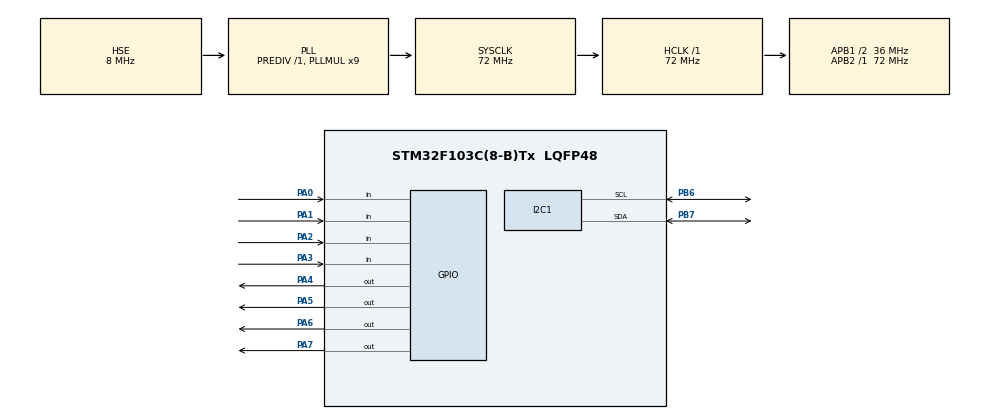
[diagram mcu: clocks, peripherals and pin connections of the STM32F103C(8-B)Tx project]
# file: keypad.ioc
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Mcu.Family=STM32F1
Mcu.Name=STM32F103C(8-B)Tx
Mcu.Package=LQFP48
NVIC.PriorityGroup=NVIC_PRIORITYGROUP_4
PA0-WKUP.GPIO_PuPd=GPIO_PULLUP
PA0-WKUP.Signal=GPIO_Input
PA1.GPIO_PuPd=GPIO_PULLUP
PA1.Signal=GPIO_Input
PA13.Mode=Serial_Wire
PA13.Signal=SYS_JTMS-SWDIO
PA14.Mode=Serial_Wire
PA14.Signal=SYS_JTCK-SWCLK
PA2.GPIO_PuPd=GPIO_PULLUP
PA2.Signal=GPIO_Input
PA3.GPIO_PuPd=GPIO_PULLUP
PA3.Signal=GPIO_Input
PA4.Signal=GPIO_Output
PA5.Signal=GPIO_Output
PA6.Signal=GPIO_Output
PA7.Signal=GPIO_Output
PB6.Mode=I2C
PB6.Signal=I2C1_SCL
PB7.Mode=I2C
PB7.Signal=I2C1_SDA
PD0-OSC_IN.Mode=HSE-External-Oscillator
PD0-OSC_IN.Signal=RCC_OSC_IN
PD1-OSC_OUT.Mode=HSE-External-Oscillator
PD1-OSC_OUT.Signal=RCC_OSC_OUT
ProjectManager.HeapSize=0x200
ProjectManager.StackSize=0x400
ProjectManager.TargetToolchain=MDK-ARM V5
RCC.AHBFreq_Value=72000000
RCC.APB1CLKDivider=RCC_HCLK_DIV2
RCC.APB1Freq_Value=36000000
RCC.APB1TimFreq_Value=72000000
RCC.APB2Freq_Value=72000000
RCC.APB2TimFreq_Value=72000000
RCC.HCLKFreq_Value=72000000
RCC.PLLMUL=RCC_PLL_MUL9
RCC.PLLSourceVirtual=RCC_PLLSOURCE_HSE
RCC.SYSCLKFreq_VALUE=72000000
RCC.SYSCLKSource=RCC_SYSCLKSOURCE_PLLCLK
RCC.USBFreq_Value=72000000
board=custom

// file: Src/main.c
/* USER CODE BEGIN Header */
/**
  ******************************************************************************
  * @file           : main.c
  * @brief          : Main program body
  ******************************************************************************
  ** This notice applies to any and all portions of this file
  * that are not between comment pairs USER CODE BEGIN and
  * USER CODE END. Other portions of this file, whether
  * inserted by the user or by software development tools
  * are owned by their respective copyright owners.
  *
  * COPYRIGHT(c) 2019 STMicroelectronics
  *
  * Redistribution and use in source and binary forms, with or without modification,
  * are permitted provided that the following conditions are met:
  *   1. Redistributions of source code must retain the above copyright notice,
  *      this list of conditions and the following disclaimer.
  *   2. Redistributions in binary form must reproduce the above copyright notice,
  *      this list of conditions and the following disclaimer in the documentation
  *      and/or other materials provided with the distribution.
  *   3. Neither the name of STMicroelectronics nor the names of its contributors
  *      may be used to endorse or promote products derived from this software
  *      without specific prior written permission.
  *
  * THIS SOFTWARE IS PROVIDED BY THE COPYRIGHT HOLDERS AND CONTRIBUTORS "AS IS"
  * AND ANY EXPRESS OR IMPLIED WARRANTIES, INCLUDING, BUT NOT LIMITED TO, THE
  * IMPLIED WARRANTIES OF MERCHANTABILITY AND FITNESS FOR A PARTICULAR PURPOSE ARE
  * DISCLAIMED. IN NO EVENT SHALL THE COPYRIGHT HOLDER OR CONTRIBUTORS BE LIABLE
  * FOR ANY DIRECT, INDIRECT, INCIDENTAL, SPECIAL, EXEMPLARY, OR CONSEQUENTIAL
  * DAMAGES (INCLUDING, BUT NOT LIMITED TO, PROCUREMENT OF SUBSTITUTE GOODS OR
  * SERVICES; LOSS OF USE, DATA, OR PROFITS; OR BUSINESS INTERRUPTION) HOWEVER
  * CAUSED AND ON ANY THEORY OF LIABILITY, WHETHER IN CONTRACT, STRICT LIABILITY,
  * OR TORT (INCLUDING NEGLIGENCE OR OTHERWISE) ARISING IN ANY WAY OUT OF THE USE
  * OF THIS SOFTWARE, EVEN IF ADVISED OF THE POSSIBILITY OF SUCH DAMAGE.
  *
  ******************************************************************************
  */
/* USER CODE END Header */

#include "main.h"

/* USER CODE BEGIN Includes */
#include "i2c-lcd.h"
/* USER CODE END Includes */

/* USER CODE BEGIN PD */
#define R1_PORT GPIOA
#define R1_PIN GPIO_PIN_7

#define R2_PORT GPIOA
#define R2_PIN GPIO_PIN_6

#define R3_PORT GPIOA
#define R3_PIN GPIO_PIN_5

#define R4_PORT GPIOA
#define R4_PIN GPIO_PIN_4

#define C1_PORT GPIOA
#define C1_PIN GPIO_PIN_3

#define C2_PORT GPIOA
#define C2_PIN GPIO_PIN_2

#define C3_PORT GPIOA
#define C3_PIN GPIO_PIN_1

#define C4_PORT GPIOA
#define C4_PIN GPIO_PIN_0

/* USER CODE END PD */

I2C_HandleTypeDef hi2c1;

void SystemClock_Config(void);
static void MX_GPIO_Init(void);
static void MX_I2C1_Init(void);

/* USER CODE BEGIN 0 */
uint8_t key;

char read_keypad (void)
{
	/* Make ROW 1 LOW and all other ROWs HIGH */
	HAL_GPIO_WritePin (R1_PORT, R1_PIN, GPIO_PIN_RESET);  //Pull the R1 low
	HAL_GPIO_WritePin (R2_PORT, R2_PIN, GPIO_PIN_SET);  // Pull the R2 High
	HAL_GPIO_WritePin (R3_PORT, R3_PIN, GPIO_PIN_SET);  // Pull the R3 High
	HAL_GPIO_WritePin (R4_PORT, R4_PIN, GPIO_PIN_SET);  // Pull the R4 High

	if (!(HAL_GPIO_ReadPin (C1_PORT, C1_PIN)))   // if the Col 1 is low
	{
		while (!(HAL_GPIO_ReadPin (C1_PORT, C1_PIN)));   // wait till the button is pressed
		return '1';
	}

	if (!(HAL_GPIO_ReadPin (C2_PORT, C2_PIN)))   // if the Col 2 is low
	{
		while (!(HAL_GPIO_ReadPin (C2_PORT, C2_PIN)));   // wait till the button is pressed
		return '2';
	}

	if (!(HAL_GPIO_ReadPin (C3_PORT, C3_PIN)))   // if the Col 3 is low
	{
		while (!(HAL_GPIO_ReadPin (C3_PORT, C3_PIN)));   // wait till the button is pressed
		return '3';
	}

	if (!(HAL_GPIO_ReadPin (C4_PORT, C4_PIN)))   // if the Col 4 is low
	{
		while (!(HAL_GPIO_ReadPin (C4_PORT, C4_PIN)));   // wait till the button is pressed
		return 'A';
	}

	/* Make ROW 2 LOW and all other ROWs HIGH */
	HAL_GPIO_WritePin (R1_PORT, R1_PIN, GPIO_PIN_SET);  //Pull the R1 low
	HAL_GPIO_WritePin (R2_PORT, R2_PIN, GPIO_PIN_RESET);  // Pull the R2 High
	HAL_GPIO_WritePin (R3_PORT, R3_PIN, GPIO_PIN_SET);  // Pull the R3 High
	HAL_GPIO_WritePin (R4_PORT, R4_PIN, GPIO_PIN_SET);  // Pull the R4 High

	if (!(HAL_GPIO_ReadPin (C1_PORT, C1_PIN)))   // if the Col 1 is low
	{
		while (!(HAL_GPIO_ReadPin (C1_PORT, C1_PIN)));   // wait till the button is pressed
		return '4';
	}

	if (!(HAL_GPIO_ReadPin (C2_PORT, C2_PIN)))   // if the Col 2 is low
	{
		while (!(HAL_GPIO_ReadPin (C2_PORT, C2_PIN)));   // wait till the button is pressed
		return '5';
	}

	if (!(HAL_GPIO_ReadPin (C3_PORT, C3_PIN)))   // if the Col 3 is low
	{
		while (!(HAL_GPIO_ReadPin (C3_PORT, C3_PIN)));   // wait till the button is pressed
		return '6';
	}

	if (!(HAL_GPIO_ReadPin (C4_PORT, C4_PIN)))   // if the Col 4 is low
	{
		while (!(HAL_GPIO_ReadPin (C4_PORT, C4_PIN)));   // wait till the button is pressed
		return 'B';
	}

	/* Make ROW 3 LOW and all other ROWs HIGH */
	HAL_GPIO_WritePin (R1_PORT, R1_PIN, GPIO_PIN_SET);  //Pull the R1 low
	HAL_GPIO_WritePin (R2_PORT, R2_PIN, GPIO_PIN_SET);  // Pull the R2 High
	HAL_GPIO_WritePin (R3_PORT, R3_PIN, GPIO_PIN_RESET);  // Pull the R3 High
	HAL_GPIO_WritePin (R4_PORT, R4_PIN, GPIO_PIN_SET);  // Pull the R4 High

	if (!(HAL_GPIO_ReadPin (C1_PORT, C1_PIN)))   // if the Col 1 is low
	{
		while (!(HAL_GPIO_ReadPin (C1_PORT, C1_PIN)));   // wait till the button is pressed
		return '7';
	}

	if (!(HAL_GPIO_ReadPin (C2_PORT, C2_PIN)))   // if the Col 2 is low
	{
		while (!(HAL_GPIO_ReadPin (C2_PORT, C2_PIN)));   // wait till the button is pressed
		return '8';
	}

	if (!(HAL_GPIO_ReadPin (C3_PORT, C3_PIN)))   // if the Col 3 is low
	{
		while (!(HAL_GPIO_ReadPin (C3_PORT, C3_PIN)));   // wait till the button is pressed
		return '9';
	}

	if (!(HAL_GPIO_ReadPin (C4_PORT, C4_PIN)))   // if the Col 4 is low
	{
		while (!(HAL_GPIO_ReadPin (C4_PORT, C4_PIN)));   // wait till the button is pressed
		return 'C';
	}

	/* Make ROW 4 LOW and all other ROWs HIGH */
	HAL_GPIO_WritePin (R1_PORT, R1_PIN, GPIO_PIN_SET);  //Pull the R1 low
	HAL_GPIO_WritePin (R2_PORT, R2_PIN, GPIO_PIN_SET);  // Pull the R2 High
	HAL_GPIO_WritePin (R3_PORT, R3_PIN, GPIO_PIN_SET);  // Pull the R3 High
	HAL_GPIO_WritePin (R4_PORT, R4_PIN, GPIO_PIN_RESET);  // Pull the R4 High

	if (!(HAL_GPIO_ReadPin (C1_PORT, C1_PIN)))   // if the Col 1 is low
	{
		while (!(HAL_GPIO_ReadPin (C1_PORT, C1_PIN)));   // wait till the button is pressed
		return '*';
	}

	if (!(HAL_GPIO_ReadPin (C2_PORT, C2_PIN)))   // if the Col 2 is low
	{
		while (!(HAL_GPIO_ReadPin (C2_PORT, C2_PIN)));   // wait till the button is pressed
		return '0';
	}

	if (!(HAL_GPIO_ReadPin (C3_PORT, C3_PIN)))   // if the Col 3 is low
	{
		while (!(HAL_GPIO_ReadPin (C3_PORT, C3_PIN)));   // wait till the button is pressed
		return '#';
	}

	if (!(HAL_GPIO_ReadPin (C4_PORT, C4_PIN)))   // if the Col 4 is low
	{
		while (!(HAL_GPIO_ReadPin (C4_PORT, C4_PIN)));   // wait till the button is pressed
		return 'D';
	}

}

/* USER CODE END 0 */

int main(void)
{

  /* MCU Configuration--------------------------------------------------------*/

  /* Reset of all peripherals, Initializes the Flash interface and the Systick. */
  HAL_Init();

  /* Configure the system clock */
  SystemClock_Config();

  /* Initialize all configured peripherals */
  MX_GPIO_Init();
  MX_I2C1_Init();
  /* USER CODE BEGIN 2 */

	lcd_init ();
	lcd_send_cmd (0x80);
	lcd_send_string ("KEY: ");
  /* USER CODE END 2 */

  /* Infinite loop */
  while (1)
  {

    /* USER CODE BEGIN 3 */
		key = read_keypad ();

		if (key!=0x01)
		{
		lcd_send_cmd (0x85);
		lcd_send_data (key);
		}
  }
  /* USER CODE END 3 */
}

void SystemClock_Config(void)
{
  RCC_OscInitTypeDef RCC_OscInitStruct = {0};
  RCC_ClkInitTypeDef RCC_ClkInitStruct = {0};

  /**Initializes the CPU, AHB and APB busses clocks
  */
  RCC_OscInitStruct.OscillatorType = RCC_OSCILLATORTYPE_HSE;
  RCC_OscInitStruct.HSEState = RCC_HSE_ON;
  RCC_OscInitStruct.HSEPredivValue = RCC_HSE_PREDIV_DIV1;
  RCC_OscInitStruct.HSIState = RCC_HSI_ON;
  RCC_OscInitStruct.PLL.PLLState = RCC_PLL_ON;
  RCC_OscInitStruct.PLL.PLLSource = RCC_PLLSOURCE_HSE;
  RCC_OscInitStruct.PLL.PLLMUL = RCC_PLL_MUL9;
  if (HAL_RCC_OscConfig(&RCC_OscInitStruct) != HAL_OK)
  {
    Error_Handler();
  }
  /**Initializes the CPU, AHB and APB busses clocks
  */
  RCC_ClkInitStruct.ClockType = RCC_CLOCKTYPE_HCLK|RCC_CLOCKTYPE_SYSCLK
                              |RCC_CLOCKTYPE_PCLK1|RCC_CLOCKTYPE_PCLK2;
  RCC_ClkInitStruct.SYSCLKSource = RCC_SYSCLKSOURCE_PLLCLK;
  RCC_ClkInitStruct.AHBCLKDivider = RCC_SYSCLK_DIV1;
  RCC_ClkInitStruct.APB1CLKDivider = RCC_HCLK_DIV2;
  RCC_ClkInitStruct.APB2CLKDivider = RCC_HCLK_DIV1;

  if (HAL_RCC_ClockConfig(&RCC_ClkInitStruct, FLASH_LATENCY_2) != HAL_OK)
  {
    Error_Handler();
  }
}

static void MX_I2C1_Init(void)
{

  hi2c1.Instance = I2C1;
  hi2c1.Init.ClockSpeed = 100000;
  hi2c1.Init.DutyCycle = I2C_DUTYCYCLE_2;
  hi2c1.Init.OwnAddress1 = 0;
  hi2c1.Init.AddressingMode = I2C_ADDRESSINGMODE_7BIT;
  hi2c1.Init.DualAddressMode = I2C_DUALADDRESS_DISABLE;
  hi2c1.Init.OwnAddress2 = 0;
  hi2c1.Init.GeneralCallMode = I2C_GENERALCALL_DISABLE;
  hi2c1.Init.NoStretchMode = I2C_NOSTRETCH_DISABLE;
  if (HAL_I2C_Init(&hi2c1) != HAL_OK)
  {
    Error_Handler();
  }

}

static void MX_GPIO_Init(void)
{
  GPIO_InitTypeDef GPIO_InitStruct = {0};

  /* GPIO Ports Clock Enable */
  __HAL_RCC_GPIOD_CLK_ENABLE();
  __HAL_RCC_GPIOA_CLK_ENABLE();
  __HAL_RCC_GPIOB_CLK_ENABLE();

  /*Configure GPIO pin Output Level */
  HAL_GPIO_WritePin(GPIOA, GPIO_PIN_4|GPIO_PIN_5|GPIO_PIN_6|GPIO_PIN_7, GPIO_PIN_RESET);

  /*Configure GPIO pins : PA0 PA1 PA2 PA3 */
  GPIO_InitStruct.Pin = GPIO_PIN_0|GPIO_PIN_1|GPIO_PIN_2|GPIO_PIN_3;
  GPIO_InitStruct.Mode = GPIO_MODE_INPUT;
  GPIO_InitStruct.Pull = GPIO_PULLUP;
  HAL_GPIO_Init(GPIOA, &GPIO_InitStruct);

  /*Configure GPIO pins : PA4 PA5 PA6 PA7 */
  GPIO_InitStruct.Pin = GPIO_PIN_4|GPIO_PIN_5|GPIO_PIN_6|GPIO_PIN_7;
  GPIO_InitStruct.Mode = GPIO_MODE_OUTPUT_PP;
  GPIO_InitStruct.Pull = GPIO_NOPULL;
  GPIO_InitStruct.Speed = GPIO_SPEED_FREQ_LOW;
  HAL_GPIO_Init(GPIOA, &GPIO_InitStruct);

}

void Error_Handler(void)
{
}

/************************ (C) COPYRIGHT STMicroelectronics *****END OF FILE****/
